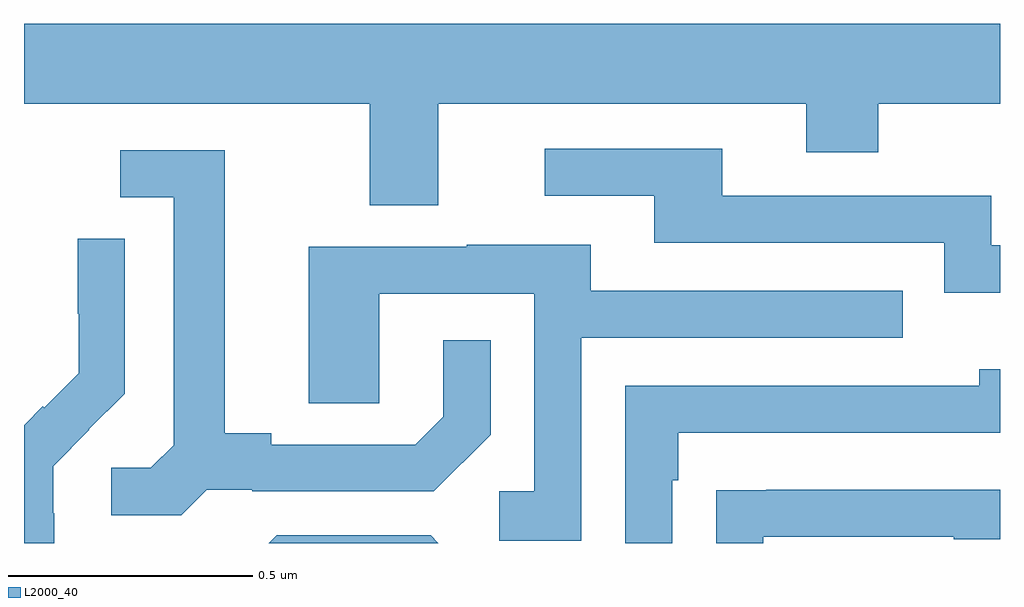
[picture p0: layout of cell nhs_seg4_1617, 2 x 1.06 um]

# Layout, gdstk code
import gdstk
lib = gdstk.Library(unit=1e-6, precision=1e-09)
def P(c, l, *ps):  # polygons
    for p in ps: c.add(gdstk.Polygon(p, *l))
L2000_40 = (2000, 40)

nhs_seg4_1617 = lib.new_cell('nhs_seg4_1617')
P(nhs_seg4_1617, L2000_40, [(130.849,816.8),(131.603,816.8),(131.603,816.701),(131.751,816.701),(131.751,816.8),(132,816.8),(132,816.964),(130,816.964),(130,816.8),(130.709,816.8),(130.709,816.592),(130.849,816.592)],
  [(132,816.51),(131.982,816.51),(131.982,816.612),(131.431,816.612),(131.431,816.708),(131.067,816.708),(131.067,816.612),(131.291,816.612),(131.291,816.516),(131.886,816.516),(131.886,816.413),(132,816.413)],
  [(130.374,816.009),(130.468,816.009),(130.468,816.006),(130.84,816.006),(130.956,816.122),(130.956,816.316),(130.859,816.316),(130.859,816.159),(130.802,816.102),(130.507,816.102),(130.507,816.125),(130.411,816.125),(130.411,816.705),(130.197,816.705),(130.197,816.609),(130.307,816.609),(130.307,816.101),(130.26,816.054),(130.179,816.054),(130.179,815.957),(130.322,815.957)],
  [(130.062,815.961),(130.06,815.961),(130.06,816.058),(130.134,816.132),(130.133,816.133),(130.206,816.206),(130.206,816.524),(130.11,816.524),(130.11,816.37),(130.112,816.37),(130.112,816.248),(130.041,816.177),(130.038,816.18),(130,816.142),(130,815.9),(130.062,815.9)],
  [(131.142,816.321),(131.801,816.321),(131.801,816.417),(131.161,816.417),(131.161,816.511),(130.907,816.511),(130.907,816.507),(130.583,816.507),(130.583,816.187),(130.728,816.187),(130.728,816.411),(131.046,816.411),(131.046,816.006),(130.974,816.006),(130.974,815.905),(131.142,815.905)],
  [(131.328,816.029),(131.341,816.029),(131.341,816.126),(132,816.126),(132,816.256),(131.957,816.256),(131.957,816.222),(131.232,816.222),(131.232,815.9),(131.328,815.9)],
  [(131.515,815.913),(131.905,815.913),(131.905,815.908),(132,815.908),(132,816.009),(131.521,816.009),(131.521,816.008),(131.419,816.008),(131.419,815.9),(131.515,815.9)],
  [(130.833,815.916),(130.518,815.916),(130.502,815.9),(130.849,815.9)])

lib.write_gds('nhs_seg4_1617.gds')
